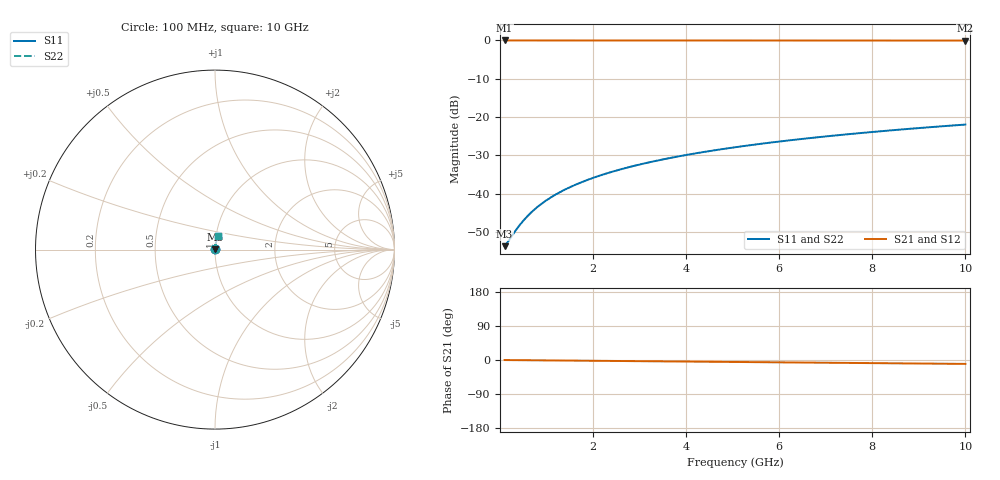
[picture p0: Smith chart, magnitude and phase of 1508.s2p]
# Hz S RI R 50.00
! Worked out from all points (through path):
!   100 points, 100 MHz to 10 GHz, reference 50 ohm
!   highest |S21| = -0.02 dB at 100 MHz (marker M1); lowest = 0.0 dB at 10 GHz (marker M2)
!   group delay of S21, straight-line fit = 2.86 ps
!   lowest |S11| = -53.7 dB at 100 MHz (marker M3), VSWR 1.00, Z = 50.2 + j0.08 ohm
!   |S11| at or under -10 dB: start of sweep to end of sweep
!   |S22| runs from -53.7 to -21.9 dB; largest |S21 - S12| = 0
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1e8  0.00192 0.000797  0.9981 -0.00179  0.9981 -0.00179  0.00192 0.000797
2e8  0.00193 0.00159  0.9981 -0.00357  0.9981 -0.00357  0.00193 0.00159
3e8  0.00195 0.00239  0.998 -0.00536  0.998 -0.00536  0.00195 0.00239
4e8  0.00197 0.00319  0.998 -0.00715  0.998 -0.00715  0.00197 0.00319
5e8  0.00199 0.00398  0.998 -0.00893  0.998 -0.00893  0.00199 0.00398
6e8  0.00201 0.00478  0.998 -0.0107  0.998 -0.0107  0.00201 0.00478
7e8  0.00203 0.00558  0.9979 -0.0125  0.9979 -0.0125  0.00203 0.00558
8e8  0.00206 0.00637  0.9979 -0.0143  0.9979 -0.0143  0.00206 0.00637
1e9  0.00212 0.00796  0.9978 -0.0179  0.9978 -0.0179  0.00212 0.00796
1.2e9  0.00219 0.00956  0.9977 -0.0214  0.9977 -0.0214  0.00219 0.00956
1.5e9  0.00231 0.0119  0.9976 -0.0268  0.9976 -0.0268  0.00231 0.0119
1.8e9  0.00246 0.0143  0.9974 -0.0322  0.9974 -0.0322  0.00246 0.0143
2.1e9  0.00263 0.0167  0.9971 -0.0375  0.9971 -0.0375  0.00263 0.0167
2.5e9  0.0029 0.0199  0.9968 -0.0447  0.9968 -0.0447  0.0029 0.0199
2.9e9  0.00322 0.0231  0.9963 -0.0518  0.9963 -0.0518  0.00322 0.0231
3.4e9  0.00368 0.027  0.9957 -0.0607  0.9957 -0.0607  0.00368 0.027
4.2e9  0.00456 0.0333  0.9945 -0.075  0.9945 -0.075  0.00456 0.0333
5.1e9  0.00577 0.0404  0.9929 -0.091  0.9929 -0.091  0.00577 0.0404
5.9e9  0.00703 0.0467  0.9912 -0.1053  0.9912 -0.1053  0.00703 0.0467
6.7e9  0.00848 0.0529  0.9892 -0.1195  0.9892 -0.1195  0.00848 0.0529
8.4e9  0.0122 0.066  0.9843 -0.1496  0.9843 -0.1496  0.0122 0.066
1e10  0.0164 0.0782  0.9786 -0.1778  0.9786 -0.1778  0.0164 0.0782
